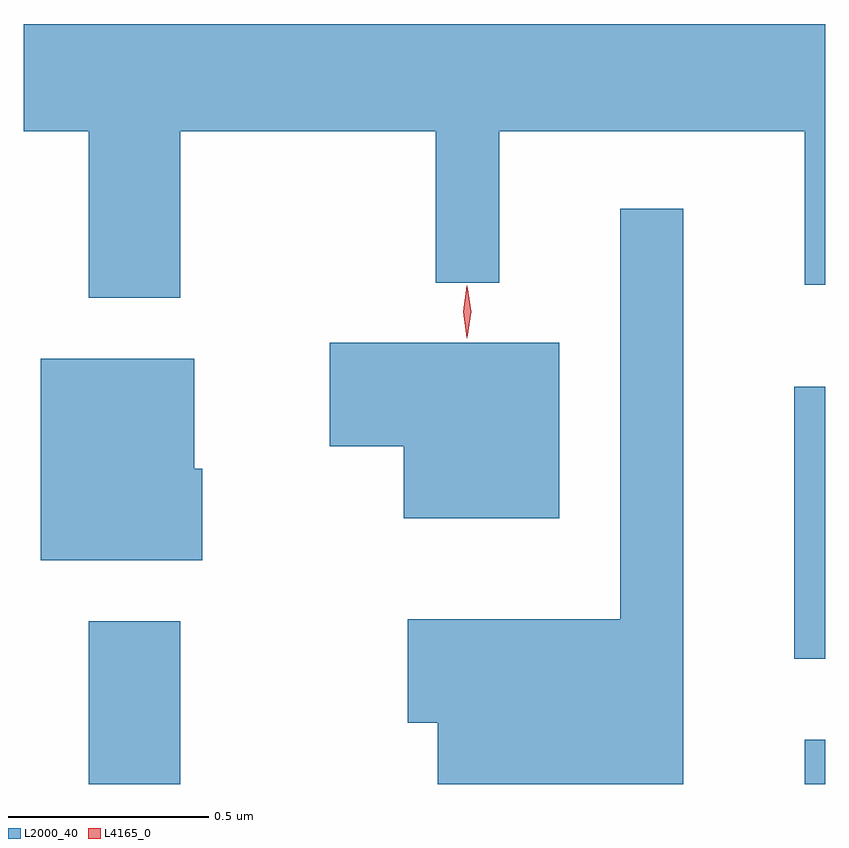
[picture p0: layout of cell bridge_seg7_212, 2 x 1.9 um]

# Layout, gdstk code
import gdstk
lib = gdstk.Library(unit=1e-6, precision=1e-09)
def R(c, l, rs):  # rectangles x0, y0, x1, y1
    for r in rs: c.add(gdstk.rectangle(r[:2], r[2:], *l))
def P(c, l, *ps):  # polygons
    for p in ps: c.add(gdstk.Polygon(p, *l))
L2000_40 = (2000, 40)
L4165_0 = (4165, 0)

bridge_seg7_212 = lib.new_cell('bridge_seg7_212')
R(bridge_seg7_212, L2000_40, [(1482.121,1670.508,1482.349,1670.914), (1483.906,1670.508,1483.958,1670.618), (1483.881,1670.821,1483.958,1671.499)])
P(bridge_seg7_212, L2000_40, [(1482.349,1672.136),(1482.986,1672.136),(1482.986,1671.758),(1483.144,1671.758),(1483.144,1672.136),(1483.906,1672.136),(1483.906,1671.753),(1483.958,1671.753),(1483.958,1672.404),(1481.958,1672.404),(1481.958,1672.136),(1482.121,1672.136),(1482.121,1671.721),(1482.349,1671.721)],
  [(1483.604,1671.943),(1483.446,1671.943),(1483.446,1670.919),(1482.916,1670.919),(1482.916,1670.661),(1482.991,1670.661),(1482.991,1670.508),(1483.604,1670.508)],
  [(1483.294,1671.609),(1482.721,1671.609),(1482.721,1671.351),(1482.906,1671.351),(1482.906,1671.171),(1483.294,1671.171)],
  [(1482.404,1671.294),(1482.384,1671.294),(1482.384,1671.569),(1482.001,1671.569),(1482.001,1671.066),(1482.404,1671.066)])
P(bridge_seg7_212, L4165_0, [(1483.065,1671.62),(1483.064,1671.621),(1483.055,1671.686),(1483.064,1671.751),(1483.065,1671.751),(1483.065,1671.751),(1483.075,1671.686),(1483.065,1671.621)])

lib.write_gds('bridge_seg7_212.gds')
